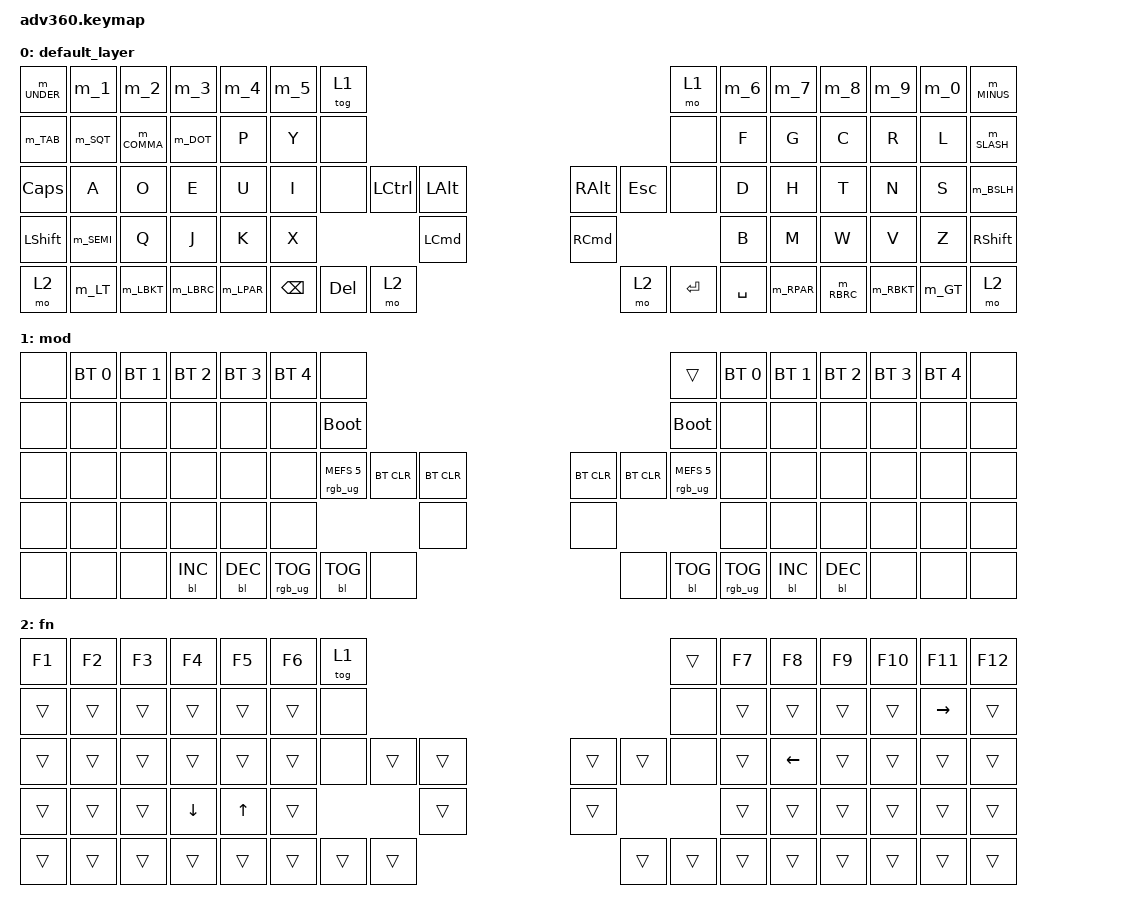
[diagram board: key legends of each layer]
#include <behaviors.dtsi>
#include <dt-bindings/zmk/keys.h>
#include <dt-bindings/zmk/bt.h>
#include <dt-bindings/zmk/rgb.h>
#include <dt-bindings/zmk/backlight.h>

#define MOD_MORPH(NAME, KEY, MOD_KEY) \
  m_##NAME: m_##NAME { \
    compatible = "zmk,behavior-mod-morph"; \
    label = #NAME; \
    #binding-cells = <0>; \
    bindings = <&kp KEY>, <&kp MOD_KEY>; \
    mods = <(MOD_LSFT|MOD_RSFT)>; \
  };

#define MOD_MORPH_NONE(NAME, KEY) \
  m_##NAME: m_##NAME { \
    compatible = "zmk,behavior-mod-morph"; \
    label = #NAME; \
    #binding-cells = <0>; \
    bindings = <&kp KEY>, <&none>; \
    mods = <(MOD_LSFT|MOD_RSFT)>; \
  };


/ {

    behaviors {

        MOD_MORPH_NONE(UNDER, UNDER)
        MOD_MORPH(1, N1, AT)
        MOD_MORPH(2, N2, EXCL)
        MOD_MORPH(3, N3, STAR)
        MOD_MORPH(4, N4, PLUS)
        MOD_MORPH_NONE(5, N5)

        MOD_MORPH_NONE(6, N6)
        MOD_MORPH(7, N7, EQUAL)
        MOD_MORPH(8, N8, AMPS)
        MOD_MORPH(9, N9, PIPE)
        MOD_MORPH(0, N0, TILDE)
        MOD_MORPH_NONE(MINUS, MINUS)

        MOD_MORPH_NONE(TAB, TAB)
        MOD_MORPH(SQT, SQT, DQT)
        MOD_MORPH(COMMA, COMMA, GRAVE)
        MOD_MORPH_NONE(DOT, DOT)

        MOD_MORPH(SLASH, SLASH, QMARK)
        MOD_MORPH_NONE(BSLH, BSLH)

        MOD_MORPH(SEMI, SEMI, COLON)

        MOD_MORPH(LT, LT, DOLLAR)
        MOD_MORPH(LBKT, LBKT, HASH)
        MOD_MORPH_NONE(LBRC, LBRC)
        MOD_MORPH_NONE(LPAR, LPAR)

        MOD_MORPH_NONE(RPAR, RPAR)
        MOD_MORPH_NONE(RBRC, RBRC)
        MOD_MORPH(RBKT, RBKT, CARET)
        MOD_MORPH(GT, GT, PERCENT)
    };

        //  ---------------------------------------------------------------------------------------
        //    | _    |  1  |  2  |  3  |  4  |  5  |         | 6  |  7  |  8  |  9  |  0  |  -   |
        //    | TAB  |  '  |  ,  |  .  |  p  |  y  |         | f  |  g  |  c  |  r  |  l  |  /   |
        //    | CPS  |  a  |  o  |  e  |  u  |  i  |         | d  |  h  |  t  |  n  |  s  |  \   |
        //    | SFT  |  ;  |  q  |  j  |  k  |  x  |         | b  |  m  |  w  |  v  |  z  |  SFT |
        //           |  <  |  [  |  {  |  (  |                    |  )  |  }  |  ]  |  >  |
        //  ---------------------------------------------------------------------------------------

        //  ---------------------------------------------------------------------------------------
        //                       | LCTRL | LALT    |         | RALT    | ESCAPE |
        //              | BSPACE | DEL   | CMD     |         | CMD     | ENTER | SPACE |
        //              |        |       | KPSHIFT |         | KPSHIFT |       |       |
        //  ---------------------------------------------------------------------------------------

        //  ---------------------------------------------------------------------------------------
        //    |      |  @  |  !  |  *  |  +  |     |        |     |  =  |  &  |  |  |  ~  |     |
        //    |      |  "  |     |     |     |     |        |     |     |     |     |     |  ?  |
        //    |      |     |     |     |     |     |        |     |     |     |     |     |     |
        //    |      |  :  |     |     |     |     |        |     |     |     |     |     |     |
        //           |  $  | \#  |     |     |                    |     |     |  ^  |  %  |
        //  ---------------------------------------------------------------------------------------

        //  ---------------------------------------------------------------------------------------
        //                       | LCTRL | LALT    |        | RALT    | ESCAPE |
        //              | BSPACE | DEL   | CMD     |        | CMD     | ENTER | SPACE |
        //              |        |       | KPSHIFT |        | KPSHIFT |       |       |
        //  ---------------------------------------------------------------------------------------


  keymap {
    compatible = "zmk,keymap";

    default_layer {
      bindings = <
        &m_UNDER    &m_1      &m_2       &m_3       &m_4       &m_5      &tog 1                                                                                       &mo 1     &m_6    &m_7     &m_8      &m_9     &m_0     &m_MINUS
        &m_TAB      &m_SQT    &m_COMMA   &m_DOT     &kp P      &kp Y     &none                                                                                        &none     &kp F   &kp G    &kp C     &kp R    &kp L    &m_SLASH
        &kp CAPS    &kp A     &kp O      &kp E      &kp U      &kp I     &none              &kp LCTRL &kp LALT                       &kp RALT    &kp ESC              &none     &kp D   &kp H    &kp T     &kp N    &kp S    &m_BSLH
        &kp LSHFT   &m_SEMI   &kp Q      &kp J      &kp K      &kp X                                  &kp LCMD                       &kp RCMD                                   &kp B   &kp M    &kp W     &kp V    &kp Z    &kp RSHFT
        &mo 2       &m_LT     &m_LBKT    &m_LBRC    &m_LPAR                       &kp BSPC  &kp DEL   &mo 2                          &mo 2       &kp ENTER  &kp SPACE                   &m_RPAR  &m_RBRC   &m_RBKT  &m_GT    &mo 2
      >;
    };

    mod {
      bindings = <
        &none &bt BT_SEL 0 &bt BT_SEL 1 &bt BT_SEL 2 &bt BT_SEL 3 &bt BT_SEL 4 &none                                                                                                          &trans                 &bt BT_SEL 0 &bt BT_SEL 1 &bt BT_SEL 2 &bt BT_SEL 3 &bt BT_SEL 4 &none
        &none &none        &none        &none        &none        &none        &bootloader                                                                                                    &bootloader            &none        &none        &none        &none        &none        &none
        &none &none        &none        &none        &none        &none        &rgb_ug RGB_MEFS_CMD 5                 &bt BT_CLR &bt BT_CLR             &bt BT_CLR &bt BT_CLR                 &rgb_ug RGB_MEFS_CMD 5 &none        &none        &none        &none        &none        &none
        &none &none        &none        &none        &none        &none                                                          &none                  &none                                                        &none        &none        &none        &none        &none        &none
        &none &none        &none        &bl BL_INC   &bl BL_DEC                                       &rgb_ug RGB_TOG &bl BL_TOG &none                  &none      &bl BL_TOG &rgb_ug RGB_TOG                                     &bl BL_INC   &bl BL_DEC   &none        &none        &none
      >;
    };

    fn {
      bindings = <
        &kp F1 &kp F2 &kp F3 &kp F4   &kp F5    &kp F6 &tog 1                                                       &trans &kp F7 &kp F8    &kp F9 &kp F10  &kp F11    &kp F12
        &trans &trans &trans &trans   &trans    &trans  &none                                                       &none  &trans &trans    &trans &trans   &kp RIGHT  &trans
        &trans &trans &trans &trans   &trans    &trans  &none        &trans &trans             &trans &trans        &none  &trans &kp LEFT  &trans &trans   &trans     &trans
        &trans &trans &trans &kp DOWN &kp UP    &trans                      &trans             &trans                      &trans &trans    &trans &trans   &trans     &trans
        &trans &trans &trans &trans   &trans               &trans &trans &trans             &trans &trans &trans                  &trans    &trans &trans   &trans     &trans
      >;
    };

  };
};
